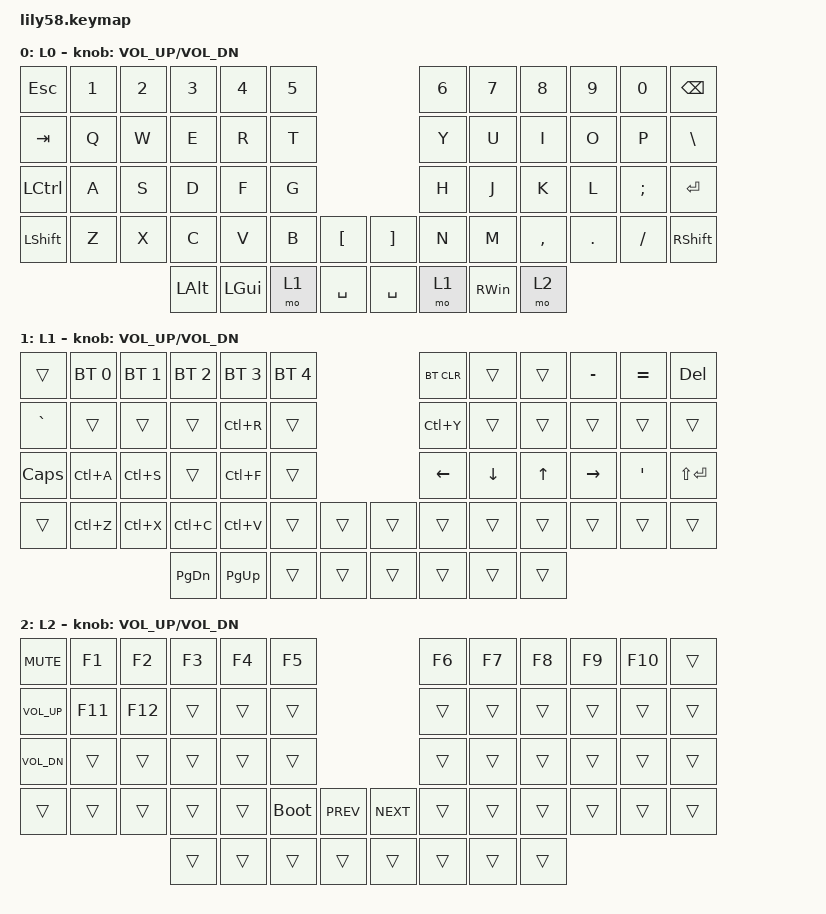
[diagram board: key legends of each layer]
/*
 * Copyright (c) 2020 The ZMK Contributors
 *
 * SPDX-License-Identifier: MIT
 */

#include <behaviors.dtsi>
#include <dt-bindings/zmk/bt.h>
#include <dt-bindings/zmk/keys.h>

/ {
    combos { compatible = "zmk,combos"; };

    keymap {
        compatible = "zmk,keymap";

        default_layer {
            // ------------------------------------------------------------------------------------------------------------
            // |  ESC  |  1  |  2  |  3   |  4   |  5   |                   |  6   |  7    |  8    |  9   |   0   |   `   |
            // |  TAB  |  Q  |  W  |  E   |  R   |  T   |                   |  Y   |  U    |  I    |  O   |   P   |   -   |
            // |  CTRL |  A  |  S  |  D   |  F   |  G   |                   |  H   |  J    |  K    |  L   |   ;   |   '   |
            // | SHIFT |  Z  |  X  |  C   |  V   |  B   |   "["  |  |  "]"  |  N   |  M    |  ,    |  .   |   /   | SHIFT |
            //                     | ALT  | GUI  | LOWER|  SPACE |  | ENTER | RAISE| BSPC  | GUI   |

            display-name = "L0";
            bindings = <
&kp ESC           &kp N1  &kp N2  &kp N3    &kp N4    &kp N5                                  &kp N6  &kp N7         &kp N8     &kp N9   &kp N0    &kp BACKSPACE
&kp TAB           &kp Q   &kp W   &kp E     &kp R     &kp T                                   &kp Y   &kp U          &kp I      &kp O    &kp P     &kp BACKSLASH
&kp LEFT_CONTROL  &kp A   &kp S   &kp D     &kp F     &kp G                                   &kp H   &kp J          &kp K      &kp L    &kp SEMI  &kp RET
&kp LSHFT         &kp Z   &kp X   &kp C     &kp V     &kp B   &kp LBKT     &kp RIGHT_BRACKET  &kp N   &kp M          &kp COMMA  &kp DOT  &kp FSLH  &kp RSHFT
                                  &kp LALT  &kp LGUI  &mo 1   &kp SPACE    &kp SPACE          &mo 1   &kp RIGHT_WIN  &mo 2
            >;

            sensor-bindings = <&inc_dec_kp C_VOL_UP C_VOL_DN>;
            label = "L0";
        };

        custom_raise {
            // ------------------------------------------------------------------------------------------------------------
            // |       |     |     |      |      |      |                   |      |       |       |      |       |       |
            // |   `   |  1  |  2  |  3   |  4   |  5   |                   |  6   |   7   |   8   |  9   |   0   |       |
            // |   F1  |  F2 |  F3 |  F4  |  F5  |  F6  |                   |      |   <-  |   v   |  ^   |  ->   |       |
            // |   F7  |  F8 |  F9 |  F10 |  F11 |  F12 |        |  |       |  +   |   -   |   =   |  [   |   ]   |   \   |
            //                     |      |      |      |        |  |       |      |       |       |

            display-name = "L1";
            bindings = <
&trans        &bt BT_SEL 0  &bt BT_SEL 1  &bt BT_SEL 2   &bt BT_SEL 3  &bt BT_SEL 4                    &bt BT_CLR      &trans          &trans        &kp MINUS  &kp EQUAL  &kp DELETE
&kp GRAVE     &trans        &trans        &trans         &kp LC(R)     &trans                          &kp LC(Y)       &trans          &trans        &trans     &trans     &trans
&kp CAPSLOCK  &kp LC(A)     &kp LC(S)     &trans         &kp LC(F)     &trans                          &kp LEFT_ARROW  &kp DOWN_ARROW  &kp UP_ARROW  &kp RIGHT  &kp APOS   &kp LS(RET)
&trans        &kp LC(Z)     &kp LC(X)     &kp LC(C)      &kp LC(V)     &trans        &trans    &trans  &trans          &trans          &trans        &trans     &trans     &trans
                                          &kp PAGE_DOWN  &kp PAGE_UP   &trans        &trans    &trans  &trans          &trans          &trans
            >;

            sensor-bindings = <&inc_dec_kp C_VOL_UP C_VOL_DN>;
            label = "L1";
        };

        custom_lower {
            // ------------------------------------------------------------------------------------------------------------
            // | BTCLR | BT1 | BT2 |  BT3 |  BT4 |  BT5 |                   |      |       |       |      |       |       |
            // |  F1   |  F2 |  F3 |  F4  |  F5  |  F6  |                   |  F7  |  F8   |  F9   |  F10 |  F11  |  F12  |
            // |   `   |  !  |  @  |  #   |  $   |  %   |                   |  ^   |  &    |  *    |  (   |   )   |   ~   |
            // |       |     |     |      |      |      |        |  |       |      |  _    |  +    |  {   |   }   |  "|"  |
            //                     |      |      |      |        |  |       |      |       |       |

            display-name = "L2";
            bindings = <
&kp C_MUTE    &kp F1   &kp F2   &kp F3  &kp F4  &kp F5                                 &kp F6  &kp F7  &kp F8  &kp F9  &kp F10  &trans
&kp C_VOL_UP  &kp F11  &kp F12  &trans  &trans  &trans                                 &trans  &trans  &trans  &trans  &trans   &trans
&kp C_VOL_DN  &trans   &trans   &trans  &trans  &trans                                 &trans  &trans  &trans  &trans  &trans   &trans
&trans        &trans   &trans   &trans  &trans  &bootloader  &kp C_PREV    &kp C_NEXT  &trans  &trans  &trans  &trans  &trans   &trans
                                &trans  &trans  &trans       &trans        &trans      &trans  &trans  &trans
            >;

            sensor-bindings = <&inc_dec_kp C_VOL_UP C_VOL_DN>;
            label = "L2";
        };
    };
};
